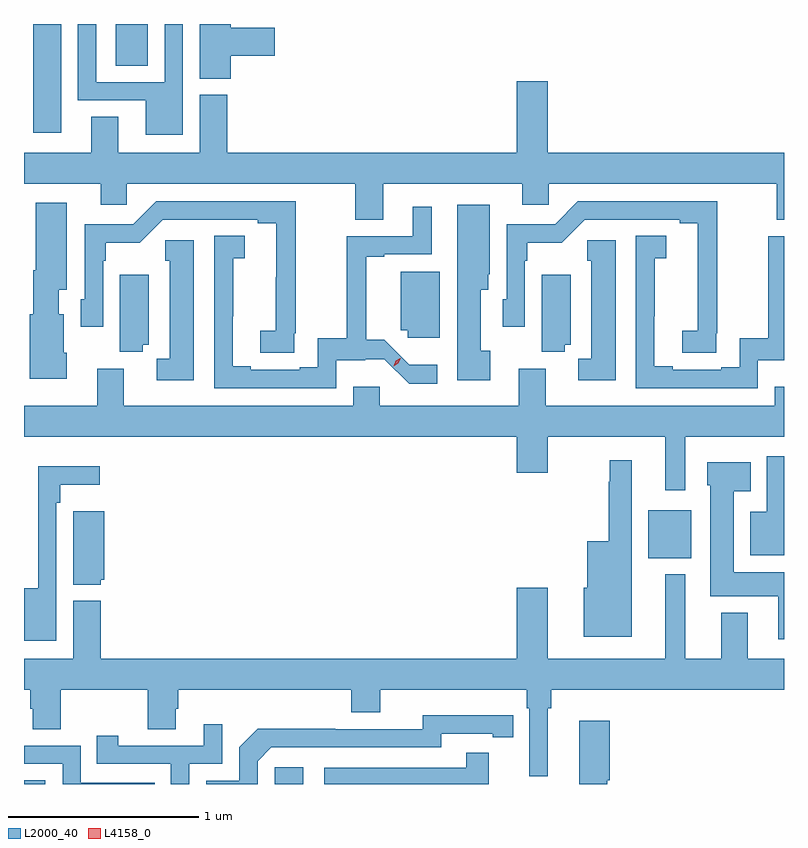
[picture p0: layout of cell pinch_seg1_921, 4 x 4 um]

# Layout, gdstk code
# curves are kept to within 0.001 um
import gdstk
lib = gdstk.Library(unit=1e-6, precision=1e-09)
def R(c, l, rs):  # rectangles x0, y0, x1, y1
    for r in rs: c.add(gdstk.rectangle(r[:2], r[2:], *l))
def P(c, l, *ps):  # polygons
    for p in ps: c.add(gdstk.Polygon(p, *l))
L2000_40 = (2000, 40)
L4158_0 = (4158, 0)

pinch_seg1_921 = lib.new_cell('pinch_seg1_921')
R(pinch_seg1_921, L2000_40, [(114.463,516.605,114.576,516.625), (115.782,516.605,115.933,516.694), (117.749,517.793,117.976,518.047), (114.512,520.032,114.658,520.605), (114.947,520.384,115.114,520.605)])
P(pinch_seg1_921, L2000_40, [(115.55,520.439),(115.783,520.439),(115.783,520.586),(115.55,520.586),(115.55,520.605),(115.389,520.605),(115.389,520.601),(115.388,520.601),(115.388,520.318),(115.55,520.318)],
  [(115.299,520.605),(115.203,520.605),(115.203,520.299),(114.843,520.299),(114.843,520.605),(114.747,520.605),(114.747,520.203),(115.103,520.203),(115.103,520.022),(115.299,520.022)],
  [(116.353,519.764),(117.086,519.764),(117.086,519.654),(117.225,519.654),(117.225,519.764),(118.426,519.764),(118.426,519.574),(118.463,519.574),(118.463,519.928),(117.22,519.928),(117.22,520.303),(117.056,520.303),(117.056,519.928),(115.532,519.928),(115.532,520.233),(115.388,520.233),(115.388,519.928),(114.958,519.928),(114.958,520.118),(114.818,520.118),(114.818,519.928),(114.463,519.928),(114.463,519.764),(114.866,519.764),(114.866,519.654),(115.005,519.654),(115.005,519.764),(116.206,519.764),(116.206,519.574),(116.353,519.574)],
  [(115.886,518.977),(115.892,518.977),(115.892,519.672),(115.158,519.672),(115.038,519.552),(114.783,519.552),(114.783,519.156),(114.762,519.156),(114.762,519.012),(114.879,519.012),(114.879,519.359),(114.892,519.359),(114.892,519.455),(115.073,519.455),(115.194,519.576),(115.694,519.576),(115.694,519.556),(115.79,519.556),(115.789,518.99),(115.707,518.99),(115.707,518.875),(115.886,518.875)],
  [(118.106,518.977),(118.112,518.977),(118.112,519.672),(117.378,519.672),(117.258,519.552),(117.003,519.552),(117.003,519.156),(116.982,519.156),(116.982,519.012),(117.099,519.012),(117.099,519.359),(117.112,519.359),(117.112,519.455),(117.293,519.455),(117.414,519.576),(117.914,519.576),(117.914,519.556),(118.01,519.556),(118.009,518.99),(117.927,518.99),(117.927,518.875),(118.106,518.875)],
  [(114.688,518.874),(114.672,518.874),(114.672,519.078),(114.646,519.078),(114.646,519.206),(114.688,519.206),(114.688,519.664),(114.524,519.664),(114.524,519.31),(114.512,519.31),(114.512,519.078),(114.494,519.078),(114.494,518.738),(114.688,518.738)],
  [(116.917,518.886),(116.866,518.886),(116.866,519.206),(116.907,519.206),(116.907,519.288),(116.914,519.288),(116.914,519.655),(116.744,519.655),(116.744,518.73),(116.917,518.73)],
  [(116.106,518.834),(116.259,518.834),(116.259,518.841),(116.36,518.841),(116.49,518.712),(116.638,518.712),(116.638,518.811),(116.49,518.811),(116.358,518.944),(116.264,518.944),(116.264,519.381),(116.359,519.381),(116.359,519.393),(116.608,519.393),(116.608,519.643),(116.51,519.643),(116.51,519.489),(116.161,519.489),(116.161,518.951),(116.01,518.951),(116.01,518.798),(115.913,518.798),(115.913,518.784),(115.657,518.784),(115.657,518.804),(115.561,518.804),(115.561,519.067),(115.563,519.067),(115.563,519.371),(115.624,519.371),(115.624,519.491),(115.464,519.491),(115.464,518.688),(116.106,518.688)],
  [(118.326,518.834),(118.463,518.834),(118.463,519.489),(118.381,519.489),(118.381,518.951),(118.23,518.951),(118.23,518.798),(118.133,518.798),(118.133,518.784),(117.877,518.784),(117.877,518.804),(117.781,518.804),(117.781,519.067),(117.783,519.067),(117.783,519.371),(117.844,519.371),(117.844,519.491),(117.684,519.491),(117.684,518.688),(118.326,518.688)],
  [(115.357,519.466),(115.207,519.466),(115.207,519.36),(115.229,519.36),(115.229,518.844),(115.161,518.844),(115.161,518.729),(115.357,518.729)],
  [(117.577,519.466),(117.427,519.466),(117.427,519.36),(117.449,519.36),(117.449,518.844),(117.381,518.844),(117.381,518.729),(117.577,518.729)],
  [(116.65,519.301),(116.447,519.301),(116.447,518.994),(116.484,518.994),(116.484,518.954),(116.65,518.954)],
  [(117.308,518.918),(117.34,518.918),(117.34,519.286),(117.188,519.286),(117.188,518.881),(117.308,518.881)],
  [(115.088,518.918),(115.12,518.918),(115.12,519.286),(114.968,519.286),(114.968,518.881),(115.088,518.881)],
  [(117.943,518.432),(118.463,518.432),(118.463,518.695),(118.415,518.695),(118.415,518.596),(117.208,518.596),(117.208,518.791),(117.068,518.791),(117.068,518.596),(116.335,518.596),(116.335,518.695),(116.195,518.695),(116.195,518.596),(114.988,518.596),(114.988,518.791),(114.848,518.791),(114.848,518.596),(114.463,518.596),(114.463,518.432),(117.056,518.432),(117.056,518.244),(117.22,518.244),(117.22,518.432),(117.839,518.432),(117.839,518.151),(117.943,518.151)],
  [(118.463,518.329),(118.373,518.329),(118.373,518.038),(118.286,518.038),(118.286,517.808),(118.463,517.808)],
  [(117.661,518.308),(117.547,518.308),(117.547,518.195),(117.54,518.195),(117.54,517.882),(117.428,517.882),(117.428,517.638),(117.41,517.638),(117.41,517.379),(117.661,517.379)],
  [(118.463,517.72),(118.198,517.72),(118.198,518.147),(118.288,518.147),(118.288,518.299),(118.058,518.299),(118.058,518.178),(118.076,518.178),(118.076,517.592),(118.433,517.592),(118.433,517.368),(118.463,517.368)],
  [(114.633,518.084),(114.653,518.084),(114.653,518.18),(114.862,518.18),(114.862,518.278),(114.537,518.278),(114.537,517.635),(114.463,517.635),(114.463,517.358),(114.633,517.358)],
  [(114.867,517.68),(114.886,517.68),(114.886,518.041),(114.722,518.041),(114.722,517.655),(114.867,517.655)],
  [(117.22,517.004),(117.239,517.004),(117.239,517.1),(118.463,517.1),(118.463,517.264),(118.273,517.264),(118.273,517.507),(118.133,517.507),(118.133,517.264),(117.943,517.264),(117.943,517.708),(117.839,517.708),(117.839,517.264),(117.22,517.264),(117.22,517.639),(117.056,517.639),(117.056,517.264),(114.866,517.264),(114.866,517.57),(114.722,517.57),(114.722,517.264),(114.463,517.264),(114.463,517.1),(114.497,517.1),(114.497,517.002),(114.509,517.002),(114.509,516.892),(114.657,516.892),(114.657,517.1),(115.114,517.1),(115.114,516.892),(115.261,516.892),(115.261,517.002),(115.274,517.002),(115.274,517.1),(116.186,517.1),(116.186,516.983),(116.338,516.983),(116.338,517.1),(117.11,517.1),(117.11,517.004),(117.123,517.004),(117.123,516.645),(117.22,516.645)],
  [(115.692,516.726),(115.764,516.798),(116.658,516.798),(116.658,516.87),(116.93,516.87),(116.93,516.85),(117.038,516.85),(117.038,516.966),(116.562,516.967),(116.562,516.894),(115.694,516.895),(115.596,516.798),(115.596,516.621),(115.422,516.621),(115.422,516.605),(115.692,516.605)],
  [(117.532,516.624),(117.545,516.624),(117.545,516.937),(117.386,516.937),(117.386,516.605),(117.532,516.605)],
  [(115.332,516.711),(115.506,516.711),(115.506,516.919),(115.409,516.919),(115.409,516.807),(114.958,516.807),(114.958,516.859),(114.847,516.859),(114.847,516.711),(115.236,516.711),(115.236,516.605),(115.332,516.605)],
  [(115.151,516.612),(114.762,516.612),(114.762,516.807),(114.463,516.807),(114.463,516.711),(114.666,516.711),(114.666,516.605),(115.151,516.605)],
  [(116.909,516.769),(116.791,516.769),(116.791,516.69),(116.043,516.69),(116.043,516.605),(116.909,516.605)])
P(pinch_seg1_921, L4158_0, [(116.408,518.804),(116.408,518.804),(116.419,518.832),(116.444,518.847),(116.445,518.847),(116.445,518.847),(116.434,518.819),(116.408,518.804)])

lib.write_gds('pinch_seg1_921.gds')
